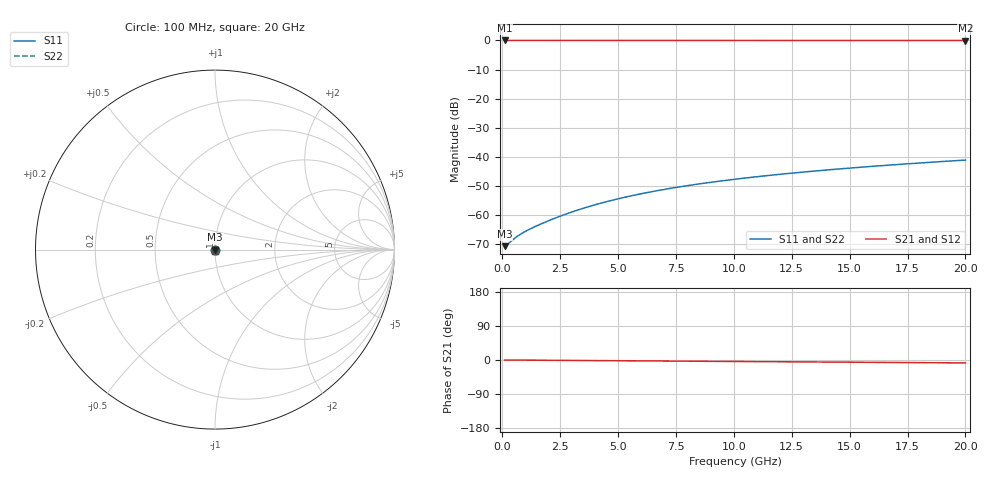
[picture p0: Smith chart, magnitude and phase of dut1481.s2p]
! Touchstone file exported from HFSS 2026.1.0
!  File:  C:/ffzhzh/LocalFiles/Ansys_Project_Files/temp_train_TSV_1481_1783198577_55132.aedt
!  Generated:  04:57:57 AM Jul  5, 2026
!  Design:  TSV
!  Project:  temp_train_TSV_1481_1783198577_55132
! Variables:
!  h_bsmrdl = 2um
!  h_ox = 20um
!  h_rdl = 5um
!  h_sub = 82.06um
!  h_tmrdl = 5um
!  h_tsv = 82.06um
!  h_via = 3um
!  l_bsmrdl = 300um
!  l_sub = 412.22um
!  l_tmrdl = 200um
!  m_sub = 200um
!  pitch = 23.42um
!  r_tsv = 6.11um
!  s_tmrdl = 10um
!  w_bsmrdl = 18um
!  w_sub = 500um
!  w_tmrdl = 12um
!  x_tsv_center1 = 206um
!  x_tsv_center2 = 524um
!  x_tsv_center3 = 736um
!  x_tsv_center4 = 1054um
!  x_tsv_center5 = 1266um
!  x_tsv_center6 = 1584um
# GHz S MA R 50.000000
! Terminal data exported
! Port[1] = TSV1_1_T1
! Port[2] = TSV1_1_T2
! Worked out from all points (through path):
!   200 points, 100 MHz to 20 GHz, reference 50 ohm
!   highest |S21| = 0.00 dB at 100 MHz (marker M1); lowest = 0.0 dB at 20 GHz (marker M2)
!   group delay of S21, straight-line fit = 1.07 ps
!   lowest |S11| = -70.6 dB at 100 MHz (marker M3), VSWR 1.00, Z = 50 + j0.00142 ohm
!   |S11| at or under -10 dB: start of sweep to end of sweep
!   |S22| runs from -70.6 to -41.1 dB; largest |S21 - S12| = 3.6e-15
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0.1  0.0002946 2.8  0.9997 -0.0  0.9997 -0.0  0.0002946 2.8
! Gamma 0 0 0 0
! Port Impedance 50 0 50 0
0.2  0.0003119 4.4  0.9997 -0.1  0.9997 -0.1  0.0003119 4.4
0.5  0.0003931 0.9  0.9996 -0.2  0.9996 -0.2  0.0003931 0.9
0.7  0.0004493 -5.1  0.9996 -0.3  0.9996 -0.3  0.0004493 -5.1
1  0.000529 -14.3  0.9995 -0.4  0.9995 -0.4  0.000529 -14.3
1.3  0.0006078 -22.5  0.9994 -0.5  0.9994 -0.5  0.0006078 -22.5
1.8  0.0007468 -32.9  0.9994 -0.7  0.9994 -0.7  0.0007468 -32.9
2.4  0.0009319 -41.6  0.9993 -0.9  0.9993 -0.9  0.0009319 -41.6
2.9  0.001101 -46.9  0.9992 -1.1  0.9992 -1.1  0.001101 -46.9
3.5  0.001318 -51.7  0.9992 -1.4  0.9992 -1.4  0.001318 -51.7
4.2  0.001589 -55.9  0.9991 -1.6  0.9991 -1.6  0.001589 -55.9
5  0.001915 -59.8  0.999 -2.0  0.999 -2.0  0.001915 -59.8
5.9  0.002297 -63.2  0.9989 -2.3  0.9989 -2.3  0.002297 -63.2
6.8  0.00269 -66.1  0.9988 -2.6  0.9988 -2.6  0.00269 -66.1
7.5  0.003 -68.0  0.9987 -2.9  0.9987 -2.9  0.003 -68.0
8.3  0.003359 -69.9  0.9987 -3.2  0.9987 -3.2  0.003359 -69.9
10.1  0.004175 -73.4  0.9985 -3.9  0.9985 -3.9  0.004175 -73.4
11.7  0.00491 -76.0  0.9984 -4.5  0.9984 -4.5  0.00491 -76.0
13.4  0.005697 -78.2  0.9983 -5.2  0.9983 -5.2  0.005697 -78.2
15  0.006446 -79.9  0.9982 -5.8  0.9982 -5.8  0.006446 -79.9
16.7  0.007251 -81.5  0.9981 -6.4  0.9981 -6.4  0.007251 -81.5
20  0.008847 -84.2  0.9979 -7.7  0.9979 -7.7  0.008847 -84.2
